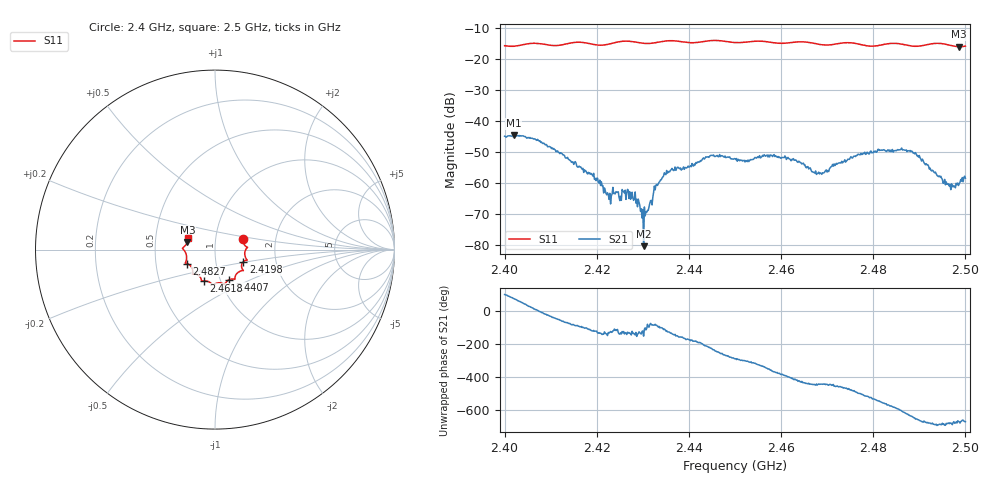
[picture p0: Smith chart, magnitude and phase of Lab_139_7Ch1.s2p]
# Hz S RI R 50
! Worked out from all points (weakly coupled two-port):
!   601 points, 2.4 GHz to 2.5 GHz, reference 50 ohm
!   highest |S21| = -44.51 dB at 2.402 GHz (marker M1); lowest = -80.4 dB at 2.4302 GHz (marker M2)
!   lowest |S11| = -15.9 dB at 2.4987 GHz (marker M3), VSWR 1.38, Z = 36.5 + j3.24 ohm
!   |S11| at or under -10 dB: start of sweep to end of sweep
!   S12 and S22 are empty: the file has one direction only
!   S11 on the Smith chart (normalised r, x): 2.4 GHz: 1.35, +0.17; 2.4198 GHz: 1.36, -0.19; 2.4407 GHz: 1.10, -0.38; 2.4618 GHz: 0.83, -0.30; 2.4827 GHz: 0.72, -0.12; 2.5 GHz: 0.73, +0.09
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2.4e9  0.1544 0.0613  -0.000669 0.00568  0 0  0 0
2.402e9  0.1587 0.0355  0.00184 0.00566  0 0  0 0
2.407167e9  0.1808 0.0119  0.00509 9.5e-05  0 0  0 0
2.416667e9  0.1791 -0.0589  -0.000198 -0.00174  0 0  0 0
2.419833e9  0.1574 -0.0676  -0.000621 -0.000904  0 0  0 0
2.4225e9  0.1477 -0.0943  -0.000443 -0.000478  0 0  0 0
2.428167e9  0.1511 -0.1174  -0.000454 -0.000336  0 0  0 0
2.430167e9  0.1323 -0.1245  -8.67e-05 -4.03e-05  0 0  0 0
2.433333e9  0.1117 -0.1528  -0.00016 -0.000952  0 0  0 0
2.435667e9  0.1117 -0.1657  -0.000984 -0.00119  0 0  0 0
2.440667e9  0.0791 -0.1678  -0.00207 -3.57e-05  0 0  0 0
2.445e9  0.054 -0.1941  -0.00175 0.00219  0 0  0 0
2.45e9  0.0269 -0.1847  0.000936 0.0023  0 0  0 0
2.461833e9  -0.0617 -0.1749  0.00177 -0.0017  0 0  0 0
2.466667e9  -0.0758 -0.1681  9.01e-05 -0.00153  0 0  0 0
2.468833e9  -0.085 -0.1497  0.000114 -0.00138  0 0  0 0
2.482667e9  -0.1582 -0.0779  -0.00303 0.00136  0 0  0 0
2.483333e9  -0.162 -0.0769  -0.00283 0.00172  0 0  0 0
2.488333e9  -0.1579 -0.0444  0.000531 0.00325  0 0  0 0
2.495667e9  -0.1751 0.0128  0.000847 0.000405  0 0  0 0
2.498667e9  -0.1541 0.0432  0.000678 0.000693  0 0  0 0
2.5e9  -0.1509 0.0631  0.00081 0.000885  0 0  0 0
